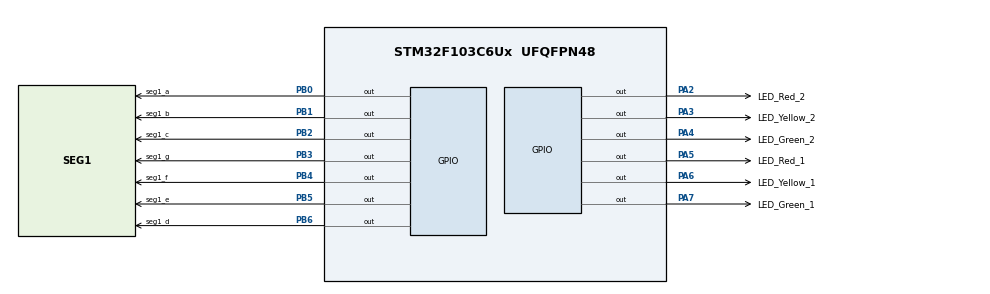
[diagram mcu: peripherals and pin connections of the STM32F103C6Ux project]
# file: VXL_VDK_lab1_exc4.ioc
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Mcu.Family=STM32F1
Mcu.Name=STM32F103C6Ux
Mcu.Package=UFQFPN48
NVIC.PriorityGroup=NVIC_PRIORITYGROUP_4
PA13.Mode=Serial_Wire
PA13.Signal=SYS_JTMS-SWDIO
PA14.Mode=Serial_Wire
PA14.Signal=SYS_JTCK-SWCLK
PA2.GPIO_Label=LED_Red_2
PA2.Signal=GPIO_Output
PA3.GPIO_Label=LED_Yellow_2
PA3.Signal=GPIO_Output
PA4.GPIO_Label=LED_Green_2
PA4.Signal=GPIO_Output
PA5.GPIO_Label=LED_Red_1
PA5.Signal=GPIO_Output
PA6.GPIO_Label=LED_Yellow_1
PA6.Signal=GPIO_Output
PA7.GPIO_Label=LED_Green_1
PA7.Signal=GPIO_Output
PB0.GPIO_Label=seg1_a
PB0.Signal=GPIO_Output
PB1.GPIO_Label=seg1_b
PB1.Signal=GPIO_Output
PB2.GPIO_Label=seg1_c
PB2.Signal=GPIO_Output
PB3.GPIO_Label=seg1_g
PB3.Signal=GPIO_Output
PB4.GPIO_Label=seg1_f
PB4.Signal=GPIO_Output
PB5.GPIO_Label=seg1_e
PB5.Signal=GPIO_Output
PB6.GPIO_Label=seg1_d
PB6.Signal=GPIO_Output
ProjectManager.HeapSize=0x200
ProjectManager.StackSize=0x400
ProjectManager.TargetToolchain=STM32CubeIDE
RCC.APB1Freq_Value=8000000
RCC.APB2Freq_Value=8000000
board=custom

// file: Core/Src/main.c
/* USER CODE BEGIN Header */
/**
  ******************************************************************************
  * @file           : main.c
  * @brief          : Main program body
  ******************************************************************************
  * @attention
  *
  * Copyright (c) 2025 STMicroelectronics.
  * All rights reserved.
  *
  * This software is licensed under terms that can be found in the LICENSE file
  * in the root directory of this software component.
  * If no LICENSE file comes with this software, it is provided AS-IS.
  *
  ******************************************************************************
  */
/* USER CODE END Header */
#include "main.h"

/* USER CODE BEGIN PV */
uint8_t led7_table[10][7] =    {{0,0,0,0,0,0,1},
								{1,0,0,1,1,1,1},
								{0,0,1,0,0,1,0},
								{0,0,0,0,1,1,0},
								{1,0,0,1,1,0,0},
								{0,1,0,0,1,0,0},
								{0,1,0,0,0,0,0},
								{0,0,0,1,1,1,1},
								{0,0,0,0,0,0,0},
								{0,0,0,0,1,0,0}};
/* USER CODE END PV */

void SystemClock_Config(void);
static void MX_GPIO_Init(void);
/* USER CODE BEGIN PFP */
void display7SEG(int num);
/* USER CODE END PFP */

/* USER CODE BEGIN 0 */
void display7SEG(int num){
	HAL_GPIO_WritePin(seg1_a_GPIO_Port, seg1_a_Pin, led7_table[num][0]);
	HAL_GPIO_WritePin(seg1_b_GPIO_Port, seg1_b_Pin, led7_table[num][1]);
	HAL_GPIO_WritePin(seg1_c_GPIO_Port, seg1_c_Pin, led7_table[num][2]);
	HAL_GPIO_WritePin(seg1_g_GPIO_Port, seg1_g_Pin, led7_table[num][3]);
	HAL_GPIO_WritePin(seg1_f_GPIO_Port, seg1_f_Pin, led7_table[num][4]);
	HAL_GPIO_WritePin(seg1_e_GPIO_Port, seg1_e_Pin, led7_table[num][5]);
	HAL_GPIO_WritePin(seg1_d_GPIO_Port, seg1_d_Pin, led7_table[num][6]);
}
/* USER CODE END 0 */

int main(void)
{

  /* MCU Configuration--------------------------------------------------------*/

  /* Reset of all peripherals, Initializes the Flash interface and the Systick. */
  HAL_Init();

  /* Configure the system clock */
  SystemClock_Config();

  /* Initialize all configured peripherals */
  MX_GPIO_Init();
  /* USER CODE BEGIN 2 */
  int counter = 0;
  /* USER CODE END 2 */

  /* Infinite loop */
  /* USER CODE BEGIN WHILE */
  while (1)
  {
	  if(counter >= 10) counter = 0;
	   display7SEG(counter++);
	   HAL_Delay(1000);
    /* USER CODE END WHILE */

  }
}

void SystemClock_Config(void)
{
  RCC_OscInitTypeDef RCC_OscInitStruct = {0};
  RCC_ClkInitTypeDef RCC_ClkInitStruct = {0};

  /** Initializes the RCC Oscillators according to the specified parameters
  * in the RCC_OscInitTypeDef structure.
  */
  RCC_OscInitStruct.OscillatorType = RCC_OSCILLATORTYPE_HSI;
  RCC_OscInitStruct.HSIState = RCC_HSI_ON;
  RCC_OscInitStruct.HSICalibrationValue = RCC_HSICALIBRATION_DEFAULT;
  RCC_OscInitStruct.PLL.PLLState = RCC_PLL_NONE;
  if (HAL_RCC_OscConfig(&RCC_OscInitStruct) != HAL_OK)
  {
    Error_Handler();
  }

  /** Initializes the CPU, AHB and APB buses clocks
  */
  RCC_ClkInitStruct.ClockType = RCC_CLOCKTYPE_HCLK|RCC_CLOCKTYPE_SYSCLK
                              |RCC_CLOCKTYPE_PCLK1|RCC_CLOCKTYPE_PCLK2;
  RCC_ClkInitStruct.SYSCLKSource = RCC_SYSCLKSOURCE_HSI;
  RCC_ClkInitStruct.AHBCLKDivider = RCC_SYSCLK_DIV1;
  RCC_ClkInitStruct.APB1CLKDivider = RCC_HCLK_DIV1;
  RCC_ClkInitStruct.APB2CLKDivider = RCC_HCLK_DIV1;

  if (HAL_RCC_ClockConfig(&RCC_ClkInitStruct, FLASH_LATENCY_0) != HAL_OK)
  {
    Error_Handler();
  }
}

static void MX_GPIO_Init(void)
{
  GPIO_InitTypeDef GPIO_InitStruct = {0};

  /* GPIO Ports Clock Enable */
  __HAL_RCC_GPIOA_CLK_ENABLE();
  __HAL_RCC_GPIOB_CLK_ENABLE();

  /*Configure GPIO pin Output Level */
  HAL_GPIO_WritePin(GPIOA, LED_Red_2_Pin|LED_Yellow_2_Pin|LED_Green_2_Pin|LED_Red_1_Pin
                          |LED_Yellow_1_Pin|LED_Green_1_Pin, GPIO_PIN_RESET);

  /*Configure GPIO pin Output Level */
  HAL_GPIO_WritePin(GPIOB, seg1_a_Pin|seg1_b_Pin|seg1_c_Pin|seg1_g_Pin
                          |seg1_f_Pin|seg1_e_Pin|seg1_d_Pin, GPIO_PIN_RESET);

  /*Configure GPIO pins : LED_Red_2_Pin LED_Yellow_2_Pin LED_Green_2_Pin LED_Red_1_Pin
                           LED_Yellow_1_Pin LED_Green_1_Pin */
  GPIO_InitStruct.Pin = LED_Red_2_Pin|LED_Yellow_2_Pin|LED_Green_2_Pin|LED_Red_1_Pin
                          |LED_Yellow_1_Pin|LED_Green_1_Pin;
  GPIO_InitStruct.Mode = GPIO_MODE_OUTPUT_PP;
  GPIO_InitStruct.Pull = GPIO_NOPULL;
  GPIO_InitStruct.Speed = GPIO_SPEED_FREQ_LOW;
  HAL_GPIO_Init(GPIOA, &GPIO_InitStruct);

  /*Configure GPIO pins : seg1_a_Pin seg1_b_Pin seg1_c_Pin seg1_g_Pin
                           seg1_f_Pin seg1_e_Pin seg1_d_Pin */
  GPIO_InitStruct.Pin = seg1_a_Pin|seg1_b_Pin|seg1_c_Pin|seg1_g_Pin
                          |seg1_f_Pin|seg1_e_Pin|seg1_d_Pin;
  GPIO_InitStruct.Mode = GPIO_MODE_OUTPUT_PP;
  GPIO_InitStruct.Pull = GPIO_NOPULL;
  GPIO_InitStruct.Speed = GPIO_SPEED_FREQ_LOW;
  HAL_GPIO_Init(GPIOB, &GPIO_InitStruct);

}

void Error_Handler(void)
{
  __disable_irq();
  while (1)
  {
  }
}
